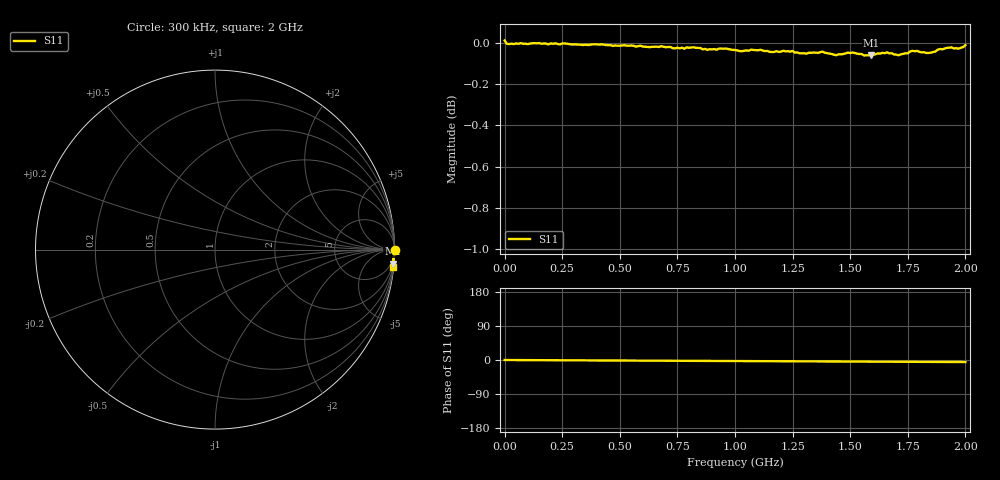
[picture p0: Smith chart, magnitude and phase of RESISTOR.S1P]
!Agilent Technologies,E5071C,MY46520295,B.13.20
!Date: Fri Feb 09 07:19:24 2024
!Data & Calibration Information:
!Freq	S22:SOLT2(ON)
!PortZ  Port2:50+j0
!Above PortZ is port z conversion or system Z0 setting when saving the data.
!When reading, reference impedance value at option line is always used.
# Hz S RI R 50
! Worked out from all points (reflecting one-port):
!   201 points, 300 kHz to 2 GHz, reference 50 ohm
!   lowest |S11| = -0.1 dB at 1.59 GHz (marker M1), VSWR 290.32, Z = 111 - j1.26e+03 ohm
!   phase of S11 starts at -0 deg and turns -5 deg over the sweep
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300000  1.002 -0.00119
2.0294e7  0.9995 -0.000952
2.50225e8  0.9998 -0.0134
5.0015e8  0.9982 -0.0265
6.10117e8  0.9975 -0.0325
7.0009e8  0.9971 -0.0354
7.50075e8  0.9967 -0.0395
8.10057e8  0.9968 -0.0409
8.90033e8  0.9956 -0.0466
9.60012e8  0.9958 -0.0482
1e9  0.9949 -0.051
1.049985e9  0.9945 -0.0544
1.089973e9  0.9946 -0.0542
1.169949e9  0.9933 -0.0602
1.249925e9  0.9938 -0.0617
1.29991e9  0.9922 -0.0662
1.359892e9  0.9924 -0.0664
1.429871e9  0.9909 -0.0717
1.49985e9  0.9919 -0.0726
1.589823e9  0.9901 -0.0781
1.639808e9  0.9915 -0.0783
1.69979e9  0.9901 -0.0833
1.749775e9  0.9908 -0.084
1.779766e9  0.992 -0.0832
1.859742e9  0.9911 -0.0893
1.929721e9  0.9936 -0.0883
1.969709e9  0.9926 -0.093
1.9997e9  0.9944 -0.0945
